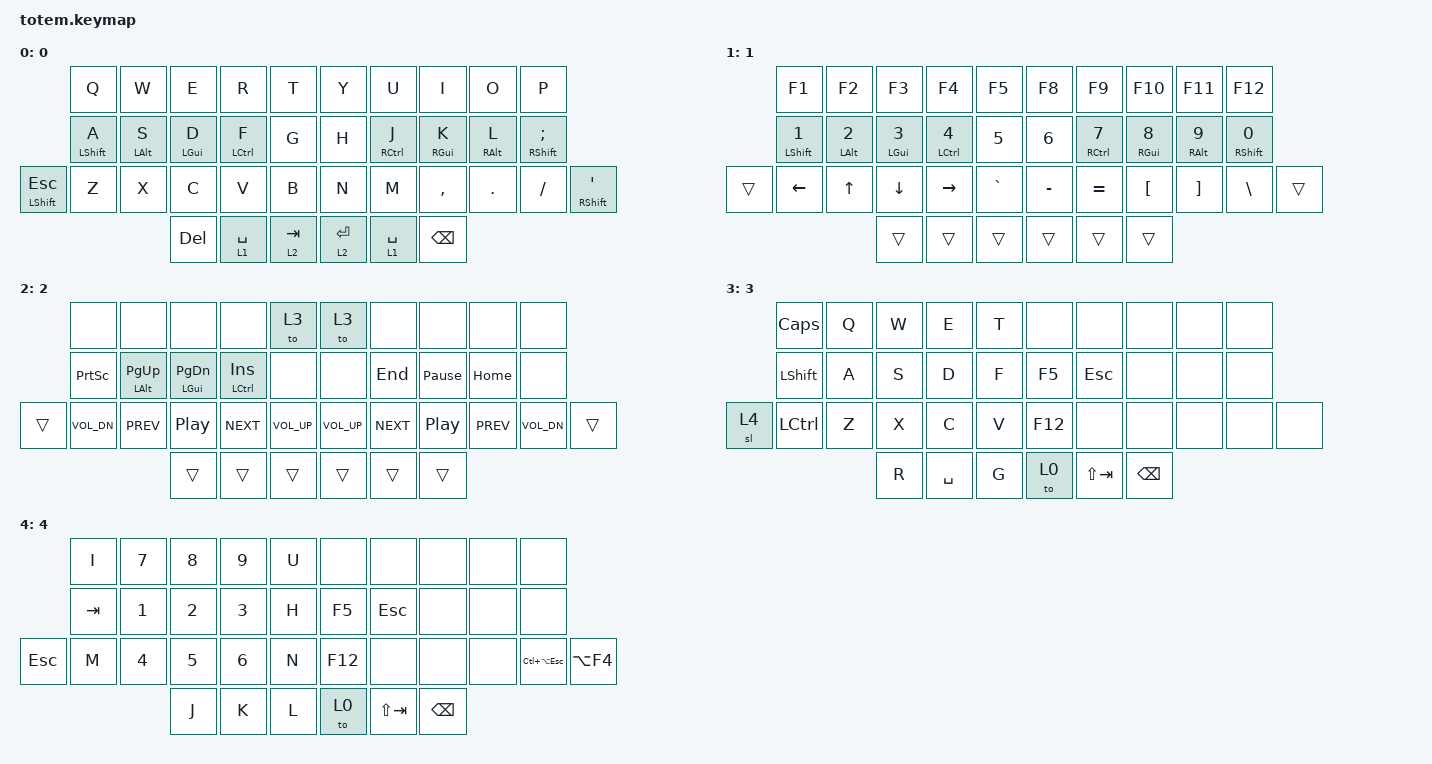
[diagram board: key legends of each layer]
//
//                                                        ▀▀▀▀▀     ▀▀▀▀▀          ▀▀█▀▀
//                                                        ▄▀▀▀▄  ▄  ▄▀▀▀▄  ▄  ▄▀▀▀▄  █  ▄▀▀▀▄
//                                                        █   █  █  █   █  █  █   █  █  █   █
//                                                         ▀▀▀   █   ▀▀▀   █   ▀▀▀   ▀   ▀▀▀
//                                                               █      ▄▄▄█▄▄▄    █   █  
//                                                               ▀      █  █  █     █▄█
//                                                             ▀▀▀▀▀    █  █  █      ▀
//                                                                      ▀  ▀  ▀
//
// ▄▄▄▄▄▄▄▄▄▄▄▄▄▄▄▄▄▄▄▄▄▄▄▄▄▄▄▄▄▄▄▄▄▄▄▄▄▄▄▄▄▄▄▄▄▄▄▄▄▄▄▄▄▄▄▄▄▄▄▄▄▄▄▄▄▄▄▄▄▄▄▄▄▄▄▄▄▄▄▄▄▄▄▄▄▄▄▄▄▄▄▄▄▄▄▄▄▄▄▄▄▄▄▄▄▄▄▄▄▄▄▄▄▄▄▄▄▄▄▄▄▄▄▄▄▄▄▄▄▄▄▄▄▄▄▄▄▄▄▄▄▄▄▄▄▄▄▄▄

#include <behaviors.dtsi>
#include <dt-bindings/zmk/keys.h>

#define Base        0
#define Nav         1
#define Sym         2
#define Fun         3
#define Game        4
#define Gameplus    5

&mt {
    quick-tap-ms = <110>;
    flavor = "balanced";
    tapping-term-ms = <220>;
    global-quick-tap;
    require-prior-idle-ms = <50>;
};

&lt {
    tapping-term-ms = <300>;
    flavor = "balanced";
    quick-tap-ms = <125>;
};

/ {
    behaviors {
        hm: homerow_mods {
            compatible = "zmk,behavior-hold-tap";
            label = "HOMEROW_MODS";
            #binding-cells = <2>;
            flavor = "tap-preferred";
            tapping-term-ms = <220>;
            quick-tap-ms = <110>;
            global-quick-tap;
            bindings = <&kp>, <&kp>;

            require-prior-idle-ms = <50>;
            hold-while-undecided;
            hold-trigger-on-release;
        };

        ts: StickyToggle {
            compatible = "zmk,behavior-hold-tap";
            label = "StickyToggle";
            bindings = <&tog>, <&sl>;

            #binding-cells = <2>;
            flavor = "balanced";
            tapping-term-ms = <200>;
            quick-tap-ms = <125>;
        };
    };

    combos {
        compatible = "zmk,combos";

        F6_F4F5 {
            bindings = <&kp F6>;
            key-positions = <3 4>;
            layers = <2>;
            timeout-ms = <50>;
        };

        F7_F8F9 {
            bindings = <&kp F7>;
            key-positions = <5 6>;
            timeout-ms = <50>;
            layers = <2>;
        };
    };

    keymap {
        compatible = "zmk,keymap";

        L0 {
            display-name = "0";
            bindings = <
               &kp Q        &kp W       &kp E       &kp R        &kp T        &kp Y      &kp U        &kp I       &kp O       &kp P
               &mt LSHFT A  &hm LALT S  &hm LGUI D  &hm LCTRL F  &kp G        &kp H      &hm RCTRL J  &hm RGUI K  &hm RALT L  &mt RSHFT SEMI
&mt LSHFT ESC  &kp Z        &kp X       &kp C       &kp V        &kp B        &kp N      &kp M        &kp COMMA   &kp PERIOD  &kp SLASH       &mt RSHFT SQT
                                        &kp DEL     &lt 1 SPACE  &lt 2 TAB    &lt 2 RET  &lt 1 SPACE  &kp BSPC
            >;
        };

        L1 {
            display-name = "1";
            bindings = <
        &kp F1        &kp F2       &kp F3       &kp F4        &kp F5       &kp F8     &kp F9        &kp F10           &kp F11            &kp F12
        &hm LSHFT N1  &mt LALT N2  &mt LGUI N3  &mt LCTRL N4  &kp N5       &kp N6     &mt RCTRL N7  &mt RGUI N8       &mt RALT N9        &hm RSHFT N0
&trans  &kp LEFT      &kp UP       &kp DOWN     &kp RIGHT     &kp GRAVE    &kp MINUS  &kp EQUAL     &kp LEFT_BRACKET  &kp RIGHT_BRACKET  &kp BACKSLASH  &trans
                                   &trans       &trans        &trans       &trans     &trans        &trans
            >;
        };

        L2 {
            display-name = "2";
            bindings = <
        &none         &none           &none             &none          &to 3           &to 3         &none       &none             &none       &none
        &kp PSCRN     &mt LALT PG_UP  &mt LGUI PG_DN    &mt LCTRL INS  &none           &none         &kp END     &kp PAUSE_BREAK   &kp HOME    &none
&trans  &kp C_VOL_DN  &kp C_PREV      &kp C_PLAY_PAUSE  &kp C_NEXT     &kp C_VOL_UP    &kp C_VOL_UP  &kp C_NEXT  &kp C_PLAY_PAUSE  &kp C_PREV  &kp C_VOL_DN  &trans
                                      &trans            &trans         &trans          &trans        &trans      &trans
            >;
        };

        G1 {
            display-name = "3";
            bindings = <
       &kp CAPS        &kp Q  &kp W  &kp E      &kp T    &none    &none        &none          &none  &none
       &kp LEFT_SHIFT  &kp A  &kp S  &kp D      &kp F    &kp F5   &kp ESC      &none          &none  &none
&sl 4  &kp LCTRL       &kp Z  &kp X  &kp C      &kp V    &kp F12  &none        &none          &none  &none  &none
                              &kp R  &kp SPACE  &kp G    &to 0    &kp LS(TAB)  &kp BACKSPACE
            >;
        };

        G2 {
            display-name = "4";
            bindings = <
         &kp I    &kp N7  &kp N8  &kp N9  &kp U    &none    &none        &none          &none  &none
         &kp TAB  &kp N1  &kp N2  &kp N3  &kp H    &kp F5   &kp ESC      &none          &none  &none
&kp ESC  &kp M    &kp N4  &kp N5  &kp N6  &kp N    &kp F12  &none        &none          &none  &kp LC(LA(ESCAPE))  &kp LA(F4)
                          &kp J   &kp K   &kp L    &to 0    &kp LS(TAB)  &kp BACKSPACE
            >;
        };
    };
};
